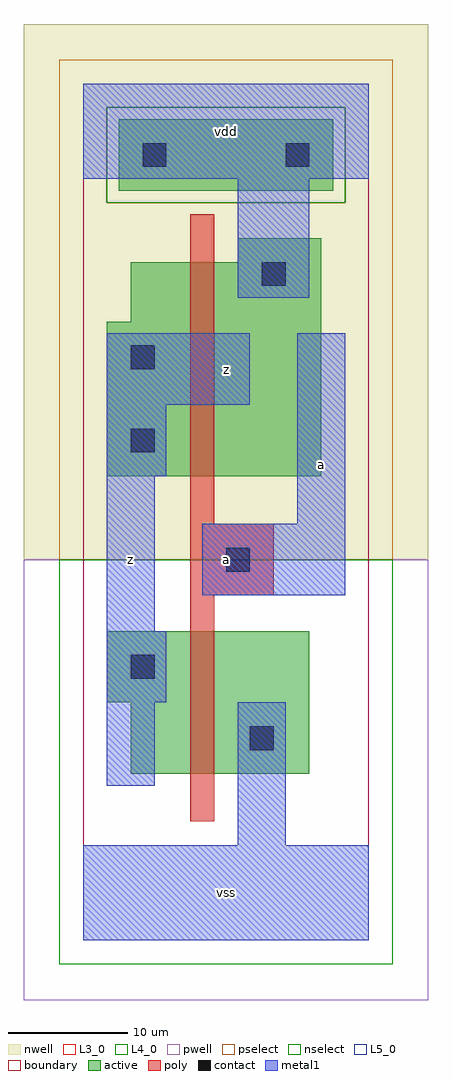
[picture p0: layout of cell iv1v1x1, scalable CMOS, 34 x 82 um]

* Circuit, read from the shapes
.subckt iv1v1x1 a vdd vss z
M1 vss a z VSUBS nfet w=12u l=2u
M2 vdd a z vdd pfet w=18u l=2u
.ends

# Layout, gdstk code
import gdstk
lib = gdstk.Library(unit=1e-6, precision=1e-09)
def R(c, l, rs):  # rectangles x0, y0, x1, y1
    for r in rs: c.add(gdstk.rectangle(r[:2], r[2:], *l))
L3_0 = (3, 0)
L4_0 = (4, 0)
L5_0 = (5, 0)
contact = (25, 0)
pwell = (41, 0)
nwell = (42, 0)
active = (43, 0)
pselect = (44, 0)
nselect = (45, 0)
poly = (46, 0)
metal1 = (49, 0)
boundary = (63, 0)

iv1v1x1 = lib.new_cell('iv1v1x1')
R(iv1v1x1, L3_0, [(4,14,19,20), (2,20,19,26)])
R(iv1v1x1, L4_0, [(2,39,20,52), (4,52,20,57), (13,57,20,59)])
R(iv1v1x1, L5_0, [(3,63,21,69)])
R(iv1v1x1, contact, [(14,16,16,18), (4,22,6,24), (12,31,14,33), (4,41,6,43), (4,48,6,50), (15,55,17,57), (5,65,7,67), (17,65,19,67)])
R(iv1v1x1, pwell, [(-5,-5,29,32)])
R(iv1v1x1, nwell, [(-5,32,29,77)])
R(iv1v1x1, active, [(4,14,19,20), (2,20,19,26), (2,39,20,52), (4,52,20,57), (13,57,20,59), (3,63,21,69)])
R(iv1v1x1, pselect, [(-2,32,26,62), (-2,62,2,70), (22,62,26,70), (-2,70,26,74)])
R(iv1v1x1, nselect, [(-2,-2,26,32), (2,62,22,70)])
R(iv1v1x1, poly, [(9,10,11,29), (9,29,16,35), (9,35,11,61)])
R(iv1v1x1, metal1, [(0,0,24,8), (13,8,17,20), (2,13,6,20), (2,20,7,26), (2,26,6,39), (10,29,22,35), (18,35,22,51), (2,39,7,45), (2,45,14,51), (13,54,19,64), (0,64,24,72)])
R(iv1v1x1, boundary, [(0,0,24,72)])
iv1v1x1.add(gdstk.Label('z', (4,32), layer=49, texttype=0))
iv1v1x1.add(gdstk.Label('vss', (12,4), layer=49, texttype=0))
iv1v1x1.add(gdstk.Label('a', (12,32), layer=49, texttype=0))
iv1v1x1.add(gdstk.Label('z', (12,48), layer=49, texttype=0))
iv1v1x1.add(gdstk.Label('vdd', (12,68), layer=49, texttype=0))
iv1v1x1.add(gdstk.Label('a', (20,40), layer=49, texttype=0))

lib.write_gds('iv1v1x1.gds')
